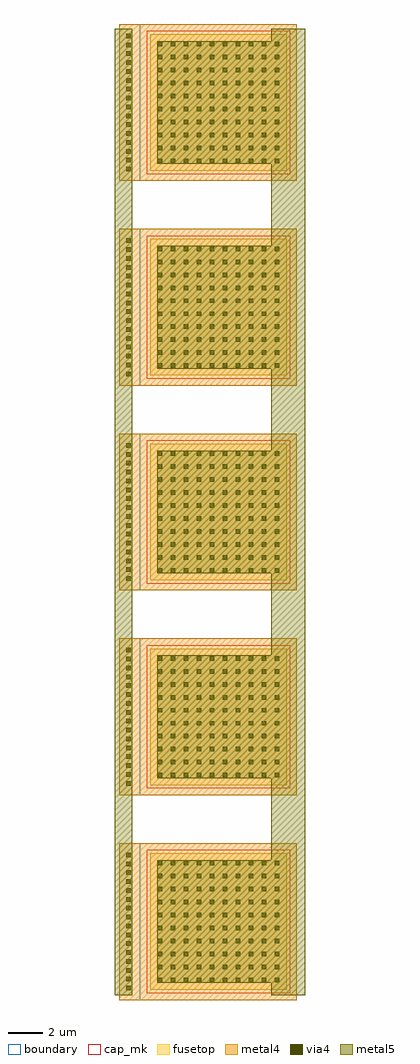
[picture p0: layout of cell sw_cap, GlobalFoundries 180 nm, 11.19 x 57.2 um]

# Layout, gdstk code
from math import pi, radians
import gdstk
lib = gdstk.Library(unit=1e-6, precision=1e-09)
def R(c, l, rs):  # rectangles x0, y0, x1, y1
    for r in rs: c.add(gdstk.rectangle(r[:2], r[2:], *l))
def A(c, l, x, y, w, h, nx, ny, dx, dy):  # array of equal rectangles
    R(c, l, [(x+i*dx, y+j*dy, x+i*dx+w, y+j*dy+h) for i in range(nx) for j in range(ny)])
boundary = (0, 0)
via4 = (41, 0)
metal4 = (46, 0)
fusetop = (75, 0)
metal5 = (81, 0)
cap_mk = (117, 5)

cap_mim_2p0ff_8jnr63 = lib.new_cell('cap_mim_2p0fF_8JNR63')
A(cap_mim_2p0ff_8jnr63, boundary, -5.2, -52.6, 9.2, 9.2, 1, 5, 0, 12)
A(cap_mim_2p0ff_8jnr63, via4, 4.54, -52.03, 0.26, 0.26, 1, 16, 0, 0.52)
A(cap_mim_2p0ff_8jnr63, via4, -4.15, -51.55, 0.26, 0.26, 10, 10, 0.76, 0.76)
A(cap_mim_2p0ff_8jnr63, via4, 4.54, -40.03, 0.26, 0.26, 1, 16, 0, 0.52)
A(cap_mim_2p0ff_8jnr63, via4, -4.15, -39.55, 0.26, 0.26, 10, 10, 0.76, 0.76)
A(cap_mim_2p0ff_8jnr63, via4, 4.54, -28.03, 0.26, 0.26, 1, 16, 0, 0.52)
A(cap_mim_2p0ff_8jnr63, via4, -4.15, -27.55, 0.26, 0.26, 10, 10, 0.76, 0.76)
A(cap_mim_2p0ff_8jnr63, via4, 4.54, -16.03, 0.26, 0.26, 1, 16, 0, 0.52)
A(cap_mim_2p0ff_8jnr63, via4, -4.15, -15.55, 0.26, 0.26, 10, 10, 0.76, 0.76)
A(cap_mim_2p0ff_8jnr63, via4, 4.54, -4.03, 0.26, 0.26, 1, 16, 0, 0.52)
A(cap_mim_2p0ff_8jnr63, via4, -4.15, -3.55, 0.26, 0.26, 10, 10, 0.76, 0.76)
A(cap_mim_2p0ff_8jnr63, metal4, -5.2, -52.6, 10.4, 9.2, 1, 5, 0, 12)
A(cap_mim_2p0ff_8jnr63, fusetop, -4.6, -52, 8, 8, 1, 5, 0, 12)
A(cap_mim_2p0ff_8jnr63, metal5, 4.45, -52.315, 0.44, 8.63, 1, 5, 0, 12)
A(cap_mim_2p0ff_8jnr63, metal5, -4.2, -51.6, 7.2, 7.2, 1, 5, 0, 12)
A(cap_mim_2p0ff_8jnr63, cap_mk, -4.8, -52.2, 8.4, 8.4, 1, 5, 0, 12)

sw_cap_unit_1 = lib.new_cell('sw_cap_unit$1')
sw_cap_unit_1.add(gdstk.Reference(cap_mim_2p0ff_8jnr63, (4.1,4.45)))

sw_cap = lib.new_cell('sw_cap')
R(sw_cap, metal5, [(-1.39,-47.865,-0.35,8.765), (7.8,-47.865,9.8,8.765)])
sw_cap.add(gdstk.Reference(sw_cap_unit_1, (8.2,0), rotation=pi, x_reflection=True))

lib.write_gds('sw_cap.gds')
